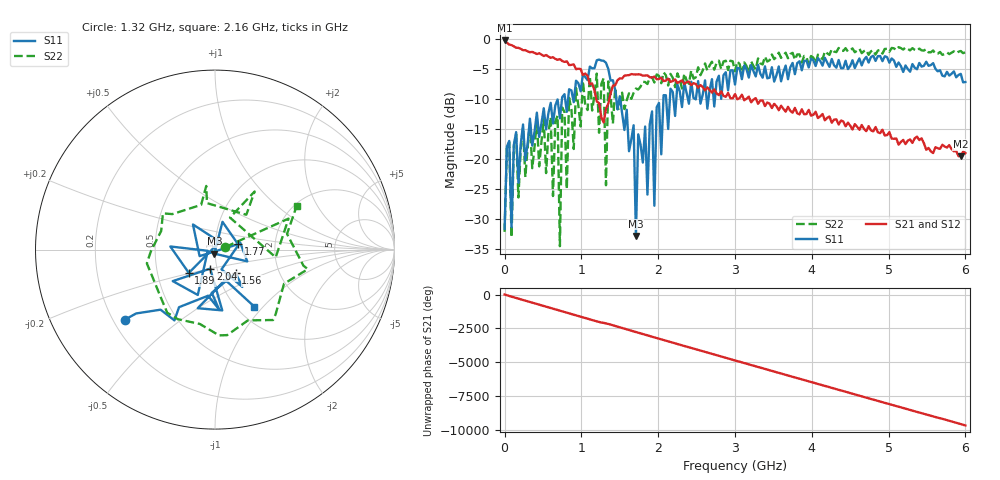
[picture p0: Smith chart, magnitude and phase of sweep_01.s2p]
! 2-port S-parameters written by miniscope-char acquisition
! instrument: Pico Technology Ltd,PicoVNA-106,10080,5.3.4
! transport: scpi
! endpoint: 127.0.0.1:5025
! demo: false
! calibration: software
# HZ S RI R 50
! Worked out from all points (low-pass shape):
!   201 points, 300 kHz to 6 GHz, reference 50 ohm
!   highest |S21| = -0.19 dB at 300 kHz (marker M1); lowest = -19.6 dB at 5.94 GHz (marker M2)
!   |S21| within 3 dB of the highest: start of sweep to 651.5 MHz
!   lowest |S11| = -32.9 dB at 1.71 GHz (marker M3), VSWR 1.05, Z = 49.6 - j2.22 ohm
!   |S11| at or under -10 dB: start of sweep to 747.4 MHz; 788.6 MHz to 827.2 MHz (38.63 MHz wide, 4.78 % of centre); 1.505 GHz to 2.068 GHz (562.9 MHz wide, 31.5 % of centre)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
!   |S22| runs from -34.6 to -1.3 dB; largest |S21 - S12| = 0.011
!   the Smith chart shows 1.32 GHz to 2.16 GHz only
!   S11 on the Smith chart (normalised r, x): 1.32 GHz: 0.25, -0.32; 1.56 GHz: 1.21, -0.33; 1.77 GHz: 1.29, +0.08; 1.89 GHz: 0.72, -0.20; 2.04 GHz: 0.93, -0.20; 2.16 GHz: 1.20, -0.90
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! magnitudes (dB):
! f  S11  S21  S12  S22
! 300 kHz  -31.7  -0.2  -0.3  -32.2
! 690.3 MHz  -10.1  -3.4  -3.4  -12.8
! 720.3 MHz  -13.2  -3.3  -3.3  -34.6
! 750.3 MHz  -9.7  -3.6  -3.6  -11.4
! 1.02 GHz  -5.8  -6.0  -5.9  -7.0
! 1.29 GHz  -3.6  -13.9  -13.9  -6.5
! 1.32 GHz  -3.9  -11.6  -11.6  -24.4
! 1.35 GHz  -4.9  -10.8  -10.8  -7.0
! 1.56 GHz  -15.2  -6.1  -6.1  -11.7
! 1.68 GHz  -14.4  -5.9  -5.8  -9.0
! 1.71 GHz  -32.9  -5.9  -5.9  -8.2
! 1.77 GHz  -17.6  -5.9  -5.9  -7.9
! 1.89 GHz  -14.2  -6.3  -6.3  -6.4
! 1.95 GHz  -27.8  -6.2  -6.2  -7.2
! 2.01 GHz  -10.6  -6.6  -6.6  -6.1
! 2.04 GHz  -19.2  -6.4  -6.4  -7.4
! 2.16 GHz  -8.3  -7.1  -7.1  -5.8
! 3 GHz  -7.6  -9.2  -9.2  -5.4
! 4.02 GHz  -3.5  -12.6  -12.6  -3.1
! 5.01 GHz  -3.9  -15.5  -15.5  -2.1
! 5.94 GHz  -5.8  -19.6  -19.6  -2.0
! 6 GHz  -7.1  -19.0  -19.0  -2.1
